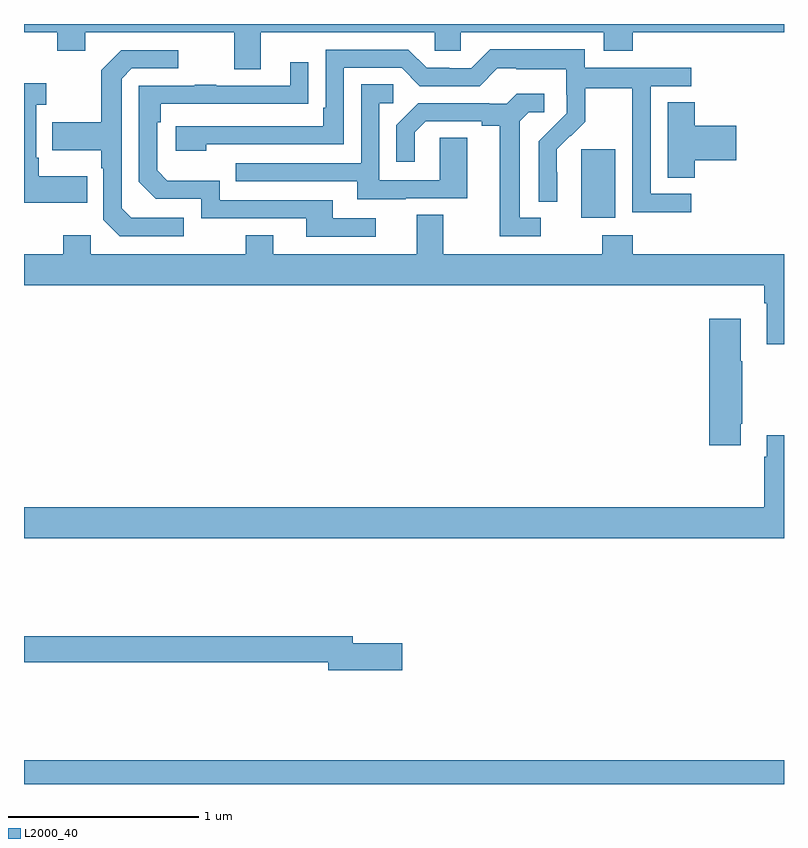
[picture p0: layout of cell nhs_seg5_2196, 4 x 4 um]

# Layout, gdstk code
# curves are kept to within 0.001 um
import gdstk
lib = gdstk.Library(unit=1e-6, precision=1e-09)
def R(c, l, rs):  # rectangles x0, y0, x1, y1
    for r in rs: c.add(gdstk.rectangle(r[:2], r[2:], *l))
def P(c, l, *ps):  # polygons
    for p in ps: c.add(gdstk.Polygon(p, *l))
L2000_40 = (2000, 40)

nhs_seg5_2196 = lib.new_cell('nhs_seg5_2196')
R(nhs_seg5_2196, L2000_40, [(239,856.799,243,856.924), (241.934,859.778,242.113,860.139)])
P(nhs_seg5_2196, L2000_40, [(240.247,860.756),(241.161,860.756),(241.161,860.658),(241.299,860.658),(241.299,860.756),(242.051,860.756),(242.051,860.657),(242.204,860.657),(242.204,860.756),(243,860.756),(243,860.799),(239,860.799),(239,860.756),(239.176,860.756),(239.176,860.657),(239.323,860.657),(239.323,860.756),(240.107,860.756),(240.107,860.562),(240.247,860.562)],
  [(242.512,859.905),(242.298,859.905),(242.298,860.472),(242.512,860.472),(242.512,860.568),(241.95,860.568),(241.95,860.665),(241.453,860.665),(241.353,860.565),(241.238,860.565),(241.238,860.568),(241.119,860.568),(241.023,860.664),(240.588,860.664),(240.588,860.359),(240.575,860.359),(240.575,860.262),(239.799,860.262),(239.799,860.132),(239.96,860.132),(239.96,860.166),(240.684,860.166),(240.684,860.568),(240.987,860.568),(241.083,860.472),(241.398,860.472),(241.491,860.565),(241.591,860.565),(241.591,860.561),(241.854,860.561),(241.854,860.427),(241.856,860.427),(241.856,860.33),(241.71,860.182),(241.71,859.864),(241.806,859.864),(241.805,860.141),(241.875,860.211),(241.878,860.208),(241.955,860.285),(241.955,860.46),(242.2,860.46),(242.2,860.236),(242.202,860.236),(242.202,859.807),(242.512,859.807)],
  [(239.842,859.779),(239.565,859.779),(239.514,859.83),(239.514,860.511),(239.568,860.565),(239.812,860.565),(239.812,860.661),(239.511,860.661),(239.406,860.555),(239.406,860.283),(239.149,860.283),(239.149,860.135),(239.406,860.135),(239.406,860.039),(239.418,860.039),(239.418,859.77),(239.505,859.683),(239.842,859.683)],
  [(240.85,859.776),(240.625,859.776),(240.625,859.872),(240.03,859.872),(240.03,859.975),(239.753,859.975),(239.7,860.028),(239.7,860.282),(239.72,860.282),(239.72,860.379),(240.497,860.38),(240.497,860.599),(240.401,860.599),(240.401,860.475),(240.011,860.475),(240.011,860.48),(239.899,860.48),(239.899,860.475),(239.604,860.475),(239.604,859.968),(239.694,859.878),(239.934,859.878),(239.934,859.776),(240.485,859.776),(240.485,859.68),(240.85,859.68)],
  [(239.333,859.999),(239.077,859.999),(239.077,860.095),(239.064,860.095),(239.064,860.375),(239.116,860.375),(239.116,860.488),(239,860.488),(239,859.859),(239.333,859.859)],
  [(241.009,859.881),(241.333,859.881),(241.333,860.201),(241.188,860.201),(241.188,859.977),(240.87,859.977),(240.87,860.382),(240.943,860.382),(240.943,860.483),(240.774,860.483),(240.774,860.067),(240.115,860.067),(240.115,859.971),(240.755,859.971),(240.755,859.877),(241.009,859.877)],
  [(241.72,859.779),(241.609,859.779),(241.609,860.287),(241.656,860.334),(241.738,860.334),(241.738,860.431),(241.594,860.431),(241.542,860.379),(241.448,860.379),(241.448,860.382),(241.076,860.382),(240.96,860.266),(240.96,860.073),(241.057,860.073),(241.057,860.229),(241.114,860.286),(241.409,860.286),(241.409,860.264),(241.505,860.264),(241.505,859.683),(241.72,859.683)],
  [(242.531,860.081),(242.749,860.081),(242.749,860.264),(242.531,860.264),(242.531,860.387),(242.387,860.387),(242.387,859.99),(242.531,859.99)],
  [(239.206,859.687),(239.206,859.588),(239,859.588),(239,859.424),(242.897,859.424),(242.897,859.328),(242.909,859.328),(242.909,859.113),(243,859.113),(243,859.588),(242.204,859.588),(242.204,859.687),(242.044,859.687),(242.044,859.588),(241.207,859.588),(241.207,859.796),(241.067,859.796),(241.067,859.588),(240.313,859.588),(240.313,859.687),(240.166,859.687),(240.166,859.588),(239.352,859.588),(239.352,859.687)],
  [(242.773,858.694),(242.781,858.694),(242.781,859.025),(242.773,859.025),(242.773,859.249),(242.606,859.249),(242.606,858.582),(242.773,858.582)],
  [(243,858.634),(242.909,858.634),(242.909,858.521),(242.897,858.521),(242.897,858.256),(239,858.256),(239,858.092),(243,858.092)],
  [(240.991,857.54),(240.73,857.54),(240.73,857.576),(239,857.576),(239,857.44),(240.602,857.44),(240.602,857.398),(240.991,857.398)])

lib.write_gds('nhs_seg5_2196.gds')
